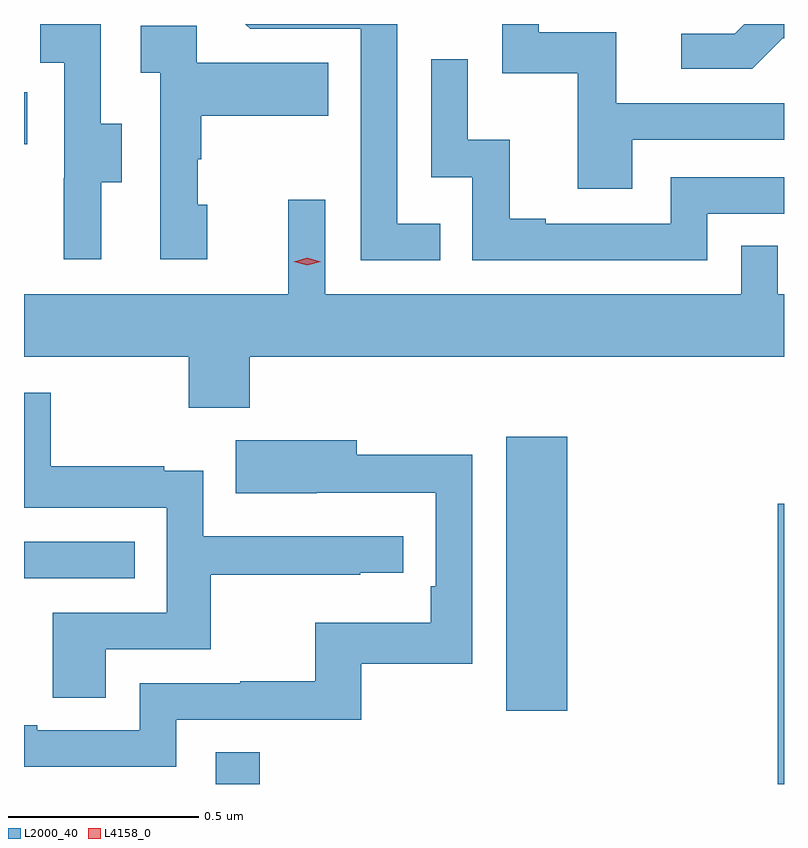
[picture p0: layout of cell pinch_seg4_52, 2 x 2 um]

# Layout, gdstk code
import gdstk
lib = gdstk.Library(unit=1e-6, precision=1e-09)
def R(c, l, rs):  # rectangles x0, y0, x1, y1
    for r in rs: c.add(gdstk.rectangle(r[:2], r[2:], *l))
def P(c, l, *ps):  # polygons
    for p in ps: c.add(gdstk.Polygon(p, *l))
L2000_40 = (2000, 40)
L4158_0 = (4158, 0)

pinch_seg4_52 = lib.new_cell('pinch_seg4_52')
R(pinch_seg4_52, L2000_40, [(1119.831,828.995,1119.947,829.079), (1121.309,828.995,1121.326,829.732), (1120.595,829.188,1120.756,829.909), (1119.326,829.536,1119.617,829.632), (1119.326,830.678,1119.335,830.815)])
P(pinch_seg4_52, L2000_40, [(1119.529,830.578),(1119.583,830.578),(1119.583,830.733),(1119.528,830.733),(1119.528,830.995),(1119.369,830.995),(1119.369,830.893),(1119.432,830.893),(1119.432,830.589),(1119.431,830.589),(1119.431,830.376),(1119.529,830.376)],
  [(1120.927,830.691),(1121.326,830.691),(1121.326,830.787),(1120.885,830.787),(1120.885,830.973),(1120.68,830.973),(1120.68,830.995),(1120.584,830.995),(1120.584,830.865),(1120.783,830.865),(1120.783,830.562),(1120.927,830.562)],
  [(1121.323,830.958),(1121.326,830.958),(1121.326,830.995),(1121.221,830.995),(1121.196,830.97),(1121.055,830.97),(1121.055,830.877),(1121.242,830.877)],
  [(1120.421,830.469),(1120.308,830.469),(1120.308,830.995),(1119.908,830.995),(1119.921,830.982),(1120.212,830.982),(1120.212,830.373),(1120.421,830.373)],
  [(1119.808,830.52),(1119.783,830.52),(1119.783,830.639),(1119.793,830.639),(1119.793,830.753),(1120.127,830.753),(1120.127,830.893),(1119.78,830.893),(1119.78,830.991),(1119.633,830.991),(1119.633,830.867),(1119.684,830.867),(1119.684,830.376),(1119.808,830.376)],
  [(1121.124,830.496),(1121.326,830.496),(1121.326,830.592),(1121.028,830.592),(1121.028,830.469),(1120.699,830.469),(1120.699,830.482),(1120.604,830.482),(1120.604,830.69),(1120.494,830.69),(1120.494,830.902),(1120.398,830.902),(1120.398,830.592),(1120.506,830.592),(1120.506,830.373),(1121.124,830.373)],
  [(1119.92,830.12),(1121.326,830.12),(1121.326,830.284),(1121.31,830.284),(1121.31,830.411),(1121.214,830.411),(1121.214,830.284),(1120.119,830.284),(1120.119,830.533),(1120.022,830.533),(1120.022,830.284),(1119.326,830.284),(1119.326,830.12),(1119.76,830.12),(1119.76,829.985),(1119.92,829.985)],
  [(1119.541,829.35),(1119.818,829.35),(1119.818,829.546),(1120.211,829.546),(1120.211,829.551),(1120.324,829.551),(1120.324,829.647),(1119.798,829.647),(1119.798,829.819),(1119.695,829.819),(1119.695,829.831),(1119.397,829.831),(1119.397,830.025),(1119.326,830.025),(1119.326,829.722),(1119.702,829.722),(1119.702,829.446),(1119.401,829.446),(1119.401,829.222),(1119.541,829.222)],
  [(1119.726,829.164),(1120.213,829.164),(1120.213,829.311),(1120.506,829.311),(1120.506,829.862),(1120.201,829.862),(1120.201,829.9),(1119.883,829.9),(1119.883,829.76),(1120.097,829.76),(1120.097,829.761),(1120.41,829.761),(1120.41,829.516),(1120.397,829.516),(1120.397,829.42),(1120.092,829.42),(1120.092,829.265),(1119.895,829.265),(1119.895,829.26),(1119.63,829.26),(1119.63,829.137),(1119.361,829.137),(1119.361,829.15),(1119.326,829.15),(1119.326,829.041),(1119.726,829.041)])
P(pinch_seg4_52, L4158_0, [(1120.072,830.36),(1120.036,830.37),(1120.036,830.37),(1120.036,830.37),(1120.072,830.38),(1120.107,830.37),(1120.107,830.37),(1120.107,830.37)])

lib.write_gds('pinch_seg4_52.gds')
